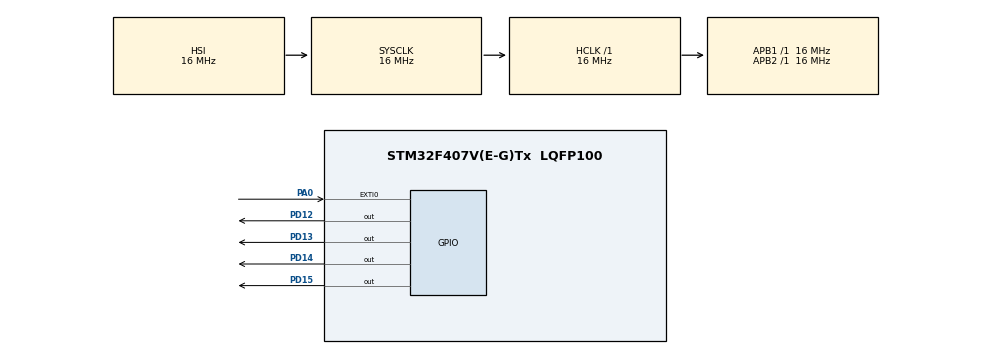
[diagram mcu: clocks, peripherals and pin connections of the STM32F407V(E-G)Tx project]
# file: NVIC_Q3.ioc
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Mcu.Family=STM32F4
Mcu.Name=STM32F407V(E-G)Tx
Mcu.Package=LQFP100
NVIC.EXTI0_IRQn=true\:0\:0\:false\:false\:true\:true\:true\:true
NVIC.PriorityGroup=NVIC_PRIORITYGROUP_4
PA0-WKUP.Signal=GPXTI0
PD12.Signal=GPIO_Output
PD13.Signal=GPIO_Output
PD14.Signal=GPIO_Output
PD15.Signal=GPIO_Output
ProjectManager.HeapSize=0x200
ProjectManager.StackSize=0x400
ProjectManager.TargetToolchain=STM32CubeIDE
RCC.AHBFreq_Value=16000000
RCC.APB1Freq_Value=16000000
RCC.APB2Freq_Value=16000000
RCC.CortexFreq_Value=16000000
RCC.HSE_VALUE=25000000
RCC.HSI_VALUE=16000000
RCC.LSE_VALUE=32768
RCC.SYSCLKFreq_VALUE=16000000
RCC.VCOOutputFreq_Value=192000000
board=custom

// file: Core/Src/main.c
/* USER CODE BEGIN Header */
/**
  ******************************************************************************
  * @file           : main.c
  * @brief          : Main program body
  ******************************************************************************
  * @attention
  *
  * Copyright (c) 2026 STMicroelectronics.
  * All rights reserved.
  *
  * This software is licensed under terms that can be found in the LICENSE file
  * in the root directory of this software component.
  * If no LICENSE file comes with this software, it is provided AS-IS.
  *
  ******************************************************************************
  */
/* USER CODE END Header */
#include "main.h"

/* USER CODE BEGIN PV */
static volatile uint8_t True_Flag = 0;
/* USER CODE END PV */

void SystemClock_Config(void);
static void MX_GPIO_Init(void);

int main(void)
{

  /* USER CODE BEGIN 1 */
int arr[4] = {GPIO_PIN_12,GPIO_PIN_13,GPIO_PIN_14,GPIO_PIN_15};
  /* USER CODE END 1 */

  /* MCU Configuration--------------------------------------------------------*/

  /* Reset of all peripherals, Initializes the Flash interface and the Systick. */
  HAL_Init();

  /* Configure the system clock */
  SystemClock_Config();

  /* Initialize all configured peripherals */
  MX_GPIO_Init();

  /* Infinite loop */
  while (1)
  {

    /* USER CODE BEGIN 3 */
	  if(True_Flag)
	  {
		  for (int i =0;  i<4; i++)
		  {
			  if(True_Flag)
			  {
				 HAL_GPIO_WritePin(GPIOD,arr[i],1);
				 HAL_Delay(500);
				 HAL_GPIO_WritePin(GPIOD,arr[i],0);
				 HAL_Delay(500);
			  }
		  }

	  }
	  else
	  {

	  }
	  /*HAL_GPIO_TogglePin(GPIOD, GPIO_PIN_15);
	  HAL_Delay(500);*/
  }
  /* USER CODE END 3 */
}

void SystemClock_Config(void)
{
  RCC_OscInitTypeDef RCC_OscInitStruct = {0};
  RCC_ClkInitTypeDef RCC_ClkInitStruct = {0};

  /** Configure the main internal regulator output voltage
  */
  __HAL_RCC_PWR_CLK_ENABLE();
  __HAL_PWR_VOLTAGESCALING_CONFIG(PWR_REGULATOR_VOLTAGE_SCALE1);

  /** Initializes the RCC Oscillators according to the specified parameters
  * in the RCC_OscInitTypeDef structure.
  */
  RCC_OscInitStruct.OscillatorType = RCC_OSCILLATORTYPE_HSI;
  RCC_OscInitStruct.HSIState = RCC_HSI_ON;
  RCC_OscInitStruct.HSICalibrationValue = RCC_HSICALIBRATION_DEFAULT;
  RCC_OscInitStruct.PLL.PLLState = RCC_PLL_NONE;
  if (HAL_RCC_OscConfig(&RCC_OscInitStruct) != HAL_OK)
  {
    Error_Handler();
  }

  /** Initializes the CPU, AHB and APB buses clocks
  */
  RCC_ClkInitStruct.ClockType = RCC_CLOCKTYPE_HCLK|RCC_CLOCKTYPE_SYSCLK
                              |RCC_CLOCKTYPE_PCLK1|RCC_CLOCKTYPE_PCLK2;
  RCC_ClkInitStruct.SYSCLKSource = RCC_SYSCLKSOURCE_HSI;
  RCC_ClkInitStruct.AHBCLKDivider = RCC_SYSCLK_DIV1;
  RCC_ClkInitStruct.APB1CLKDivider = RCC_HCLK_DIV1;
  RCC_ClkInitStruct.APB2CLKDivider = RCC_HCLK_DIV1;

  if (HAL_RCC_ClockConfig(&RCC_ClkInitStruct, FLASH_LATENCY_0) != HAL_OK)
  {
    Error_Handler();
  }
}

static void MX_GPIO_Init(void)
{
  GPIO_InitTypeDef GPIO_InitStruct = {0};

  /* GPIO Ports Clock Enable */
  __HAL_RCC_GPIOA_CLK_ENABLE();
  __HAL_RCC_GPIOD_CLK_ENABLE();

  /*Configure GPIO pin Output Level */
  HAL_GPIO_WritePin(GPIOD, GPIO_PIN_12|GPIO_PIN_13|GPIO_PIN_14|GPIO_PIN_15, GPIO_PIN_RESET);

  /*Configure GPIO pin : PA0 */
  GPIO_InitStruct.Pin = GPIO_PIN_0;
  GPIO_InitStruct.Mode = GPIO_MODE_IT_RISING;
  GPIO_InitStruct.Pull = GPIO_NOPULL;
  HAL_GPIO_Init(GPIOA, &GPIO_InitStruct);

  /*Configure GPIO pins : PD12 PD13 PD14 PD15 */
  GPIO_InitStruct.Pin = GPIO_PIN_12|GPIO_PIN_13|GPIO_PIN_14|GPIO_PIN_15;
  GPIO_InitStruct.Mode = GPIO_MODE_OUTPUT_PP;
  GPIO_InitStruct.Pull = GPIO_NOPULL;
  GPIO_InitStruct.Speed = GPIO_SPEED_FREQ_LOW;
  HAL_GPIO_Init(GPIOD, &GPIO_InitStruct);

  /* EXTI interrupt init*/
  HAL_NVIC_SetPriority(EXTI0_IRQn, 0, 0);
  HAL_NVIC_EnableIRQ(EXTI0_IRQn);

}

/* USER CODE BEGIN 4 */
void HAL_GPIO_EXTI_Callback(uint16_t GPIO_Pin)
{
  static uint32_t last_interrupt_time = 0;
  uint32_t current_time = HAL_GetTick();

  if (GPIO_Pin == GPIO_PIN_0)
  {
    // Debounce filter: Ignore trigger if less than 200ms has elapsed since last valid press
    if (current_time - last_interrupt_time > 200)
    {
      True_Flag = !True_Flag;
      last_interrupt_time = current_time;
    }
  }
}
/* USER CODE END 4 */

void Error_Handler(void)
{
  __disable_irq();
  while (1)
  {
  }
}
